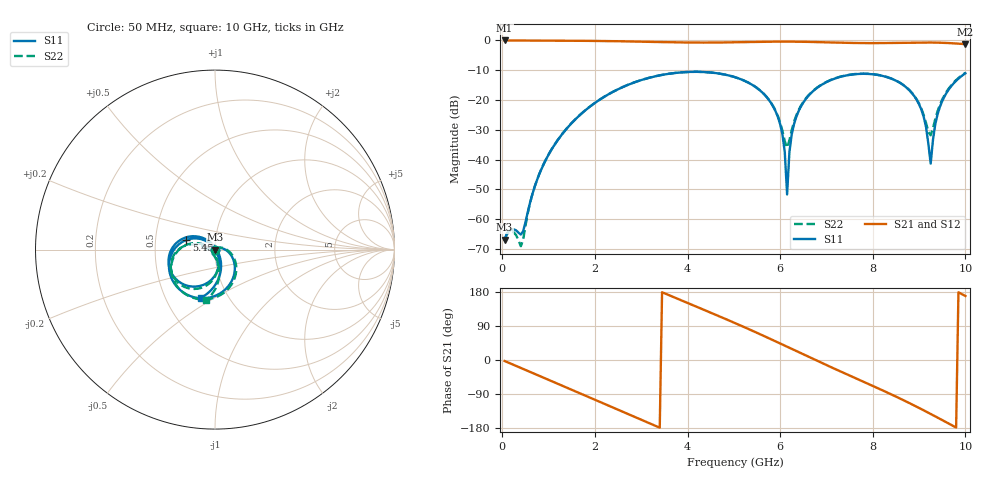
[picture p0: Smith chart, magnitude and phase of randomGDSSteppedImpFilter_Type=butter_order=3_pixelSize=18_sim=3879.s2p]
! freq	dB(S11)	phase(S11)	dB(S12)	phase(S12)
!  dB(S21)	phase(S21)	dB(S22)	phase(S22)
!S-par simulation data
#  GHz  S  DB  R 50
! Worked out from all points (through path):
!   200 points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, 50 MHz to 10 GHz, reference 50 ohm
!   highest |S21| = 0.00 dB at 50 MHz (marker M1); lowest = -1.2 dB at 10 GHz (marker M2)
!   group delay of S21, straight-line fit = 151 ps
!   lowest |S11| = -66.9 dB at 50 MHz (marker M3), VSWR 1.00, Z = 50 + j0.0146 ohm
!   |S11| at or under -10 dB: start of sweep to end of sweep
!   |S22| runs from -69.1 to -10.5 dB; largest |S21 - S12| = 0
!   S11 on the Smith chart (normalised r, x): 50 MHz: 1.00, +0.00; 5.45 GHz: 0.72, +0.08; 10 GHz: 0.75, -0.44
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0.05  -66.94 18.9  -0.00 -2.6  -0.00 -2.6  -66.95 18.9
0.4  -65.18 -17.1  -0.04 -21.0  -0.04 -21.0  -69.08 -11.8
0.9  -41.34 40.0  -0.06 -47.1  -0.06 -47.1  -41.27 47.2
1.75  -24.02 -3.4  -0.13 -91.7  -0.13 -91.7  -23.99 1.0
2.65  -15.32 -51.1  -0.30 -139.3  -0.30 -139.3  -15.30 -46.8
3.4  -11.72 -90.8  -0.54 -178.6  -0.54 -178.6  -11.71 -86.0
5.05  -12.47 -176.3  -0.61 96.1  -0.61 96.1  -12.45 -168.1
5.45  -15.43 161.7  -0.50 74.5  -0.50 74.5  -15.41 172.4
6  -28.12 128.4  -0.40 43.6  -0.40 43.6  -27.59 159.4
6.1  -37.56 116.5  -0.39 37.9  -0.39 37.9  -33.84 -175.6
6.15  -51.73 39.5  -0.39 35.0  -0.39 35.0  -35.98 -138.6
6.2  -37.48 -52.3  -0.40 32.2  -0.40 32.2  -33.53 -102.6
6.3  -28.06 -63.5  -0.41 26.4  -0.41 26.4  -27.28 -81.0
6.7  -17.17 -88.6  -0.51 3.5  -0.51 3.5  -17.05 -88.1
7.6  -11.36 -140.0  -0.85 -46.5  -0.85 -46.5  -11.30 -132.6
8.35  -12.54 176.9  -0.85 -87.9  -0.85 -87.9  -12.48 -170.4
9  -21.45 133.7  -0.70 -126.5  -0.70 -126.5  -21.24 163.8
9.15  -29.07 116.2  -0.69 -136.0  -0.69 -136.0  -27.71 175.7
9.25  -41.36 23.2  -0.70 -142.3  -0.70 -142.3  -31.86 -130.3
9.35  -28.10 -52.0  -0.72 -148.8  -0.72 -148.8  -26.35 -86.0
9.45  -22.26 -64.6  -0.76 -155.3  -0.76 -155.3  -21.57 -78.1
10  -11.04 -106.3  -1.25 168.9  -1.25 168.9  -10.86 -99.7
